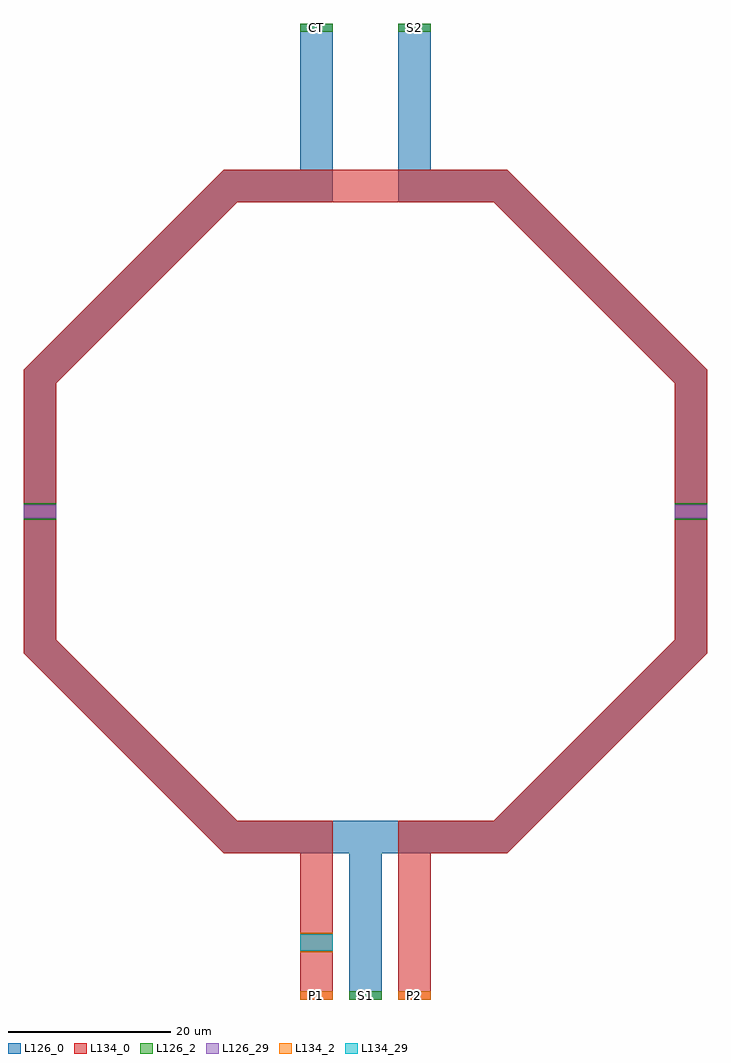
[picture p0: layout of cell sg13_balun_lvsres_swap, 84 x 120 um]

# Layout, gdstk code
from math import pi, radians
import gdstk
lib = gdstk.Library(unit=1e-6, precision=1e-09)
def R(c, l, rs):  # rectangles x0, y0, x1, y1
    for r in rs: c.add(gdstk.rectangle(r[:2], r[2:], *l))
def P(c, l, *ps):  # polygons
    for p in ps: c.add(gdstk.Polygon(p, *l))
L126_0 = (126, 0)
L126_2 = (126, 2)
L126_29 = (126, 29)
L134_0 = (134, 0)
L134_2 = (134, 2)
L134_29 = (134, 29)

lvsres = lib.new_cell('lvsres')
R(lvsres, L134_0, [(-1.2,0,1.2,4), (-1,0,1,4)])
R(lvsres, L134_2, [(-1.2,0,-1,4), (1,0,1.2,4)])
R(lvsres, L134_29, [(-1,0,1,4)])

lvsres_1 = lib.new_cell('lvsres$1')
R(lvsres_1, L126_0, [(-1.02,0,1.02,4), (-0.82,0,0.82,4)])
R(lvsres_1, L126_2, [(-1.02,0,-0.82,4), (0.82,0,1.02,4)])
R(lvsres_1, L126_29, [(-0.82,0,0.82,4)])

sg13_balun_lvsres_swap = lib.new_cell('sg13_balun_lvsres_swap')
P(sg13_balun_lvsres_swap, L126_0, [(-2,-60),(-2,-42),(-17.4,-42),(-42,-17.4),(-42,-0.82),(-38,-0.82),(-38,-15.74),(-15.74,-38),(15.74,-38),(38,-15.74),(38,-0.82),(42,-0.82),(42,-17.4),(17.4,-42),(2,-42),(2,-60)],
  [(-42,0.82),(-42,17.4),(-17.4,42),(-8,42),(-8,60),(-4,60),(-4,38),(-15.74,38),(-38,15.74),(-38,0.82)],
  [(38,0.82),(38,15.74),(15.74,38),(4,38),(4,60),(8,60),(8,42),(17.4,42),(42,17.4),(42,0.82)])
R(sg13_balun_lvsres_swap, L126_2, [(-2,-60,2,-59), (-8,59,-4,60), (4,59,8,60)])
R(sg13_balun_lvsres_swap, L134_0, [(-8,-60,-4,-54)])
P(sg13_balun_lvsres_swap, L134_0, [(4,-60),(4,-38),(15.74,-38),(38,-15.74),(38,15.74),(15.74,38),(-15.74,38),(-38,15.74),(-38,-15.74),(-15.74,-38),(-4,-38),(-4,-52),(-8,-52),(-8,-42),(-17.4,-42),(-42,-17.4),(-42,17.4),(-17.4,42),(17.4,42),(42,17.4),(42,-17.4),(17.4,-42),(8,-42),(8,-60)])
R(sg13_balun_lvsres_swap, L134_2, [(-8,-60,-4,-59), (4,-60,8,-59)])
sg13_balun_lvsres_swap.add(gdstk.Reference(lvsres, (-4,-53), rotation=pi/2))
sg13_balun_lvsres_swap.add(gdstk.Reference(lvsres_1, (-38,0), rotation=pi/2))
sg13_balun_lvsres_swap.add(gdstk.Reference(lvsres_1, (42,0), rotation=pi/2))
sg13_balun_lvsres_swap.add(gdstk.Label('P1', (-6,-59.5), layer=134, texttype=25))
sg13_balun_lvsres_swap.add(gdstk.Label('P2', (6,-59.5), layer=134, texttype=25))
sg13_balun_lvsres_swap.add(gdstk.Label('CT', (-6,59.5), layer=126, texttype=25))
sg13_balun_lvsres_swap.add(gdstk.Label('S1', (0,-59.5), layer=126, texttype=25))
sg13_balun_lvsres_swap.add(gdstk.Label('S2', (6,59.5), layer=126, texttype=25))

lib.write_gds('sg13_balun_lvsres_swap.gds')
